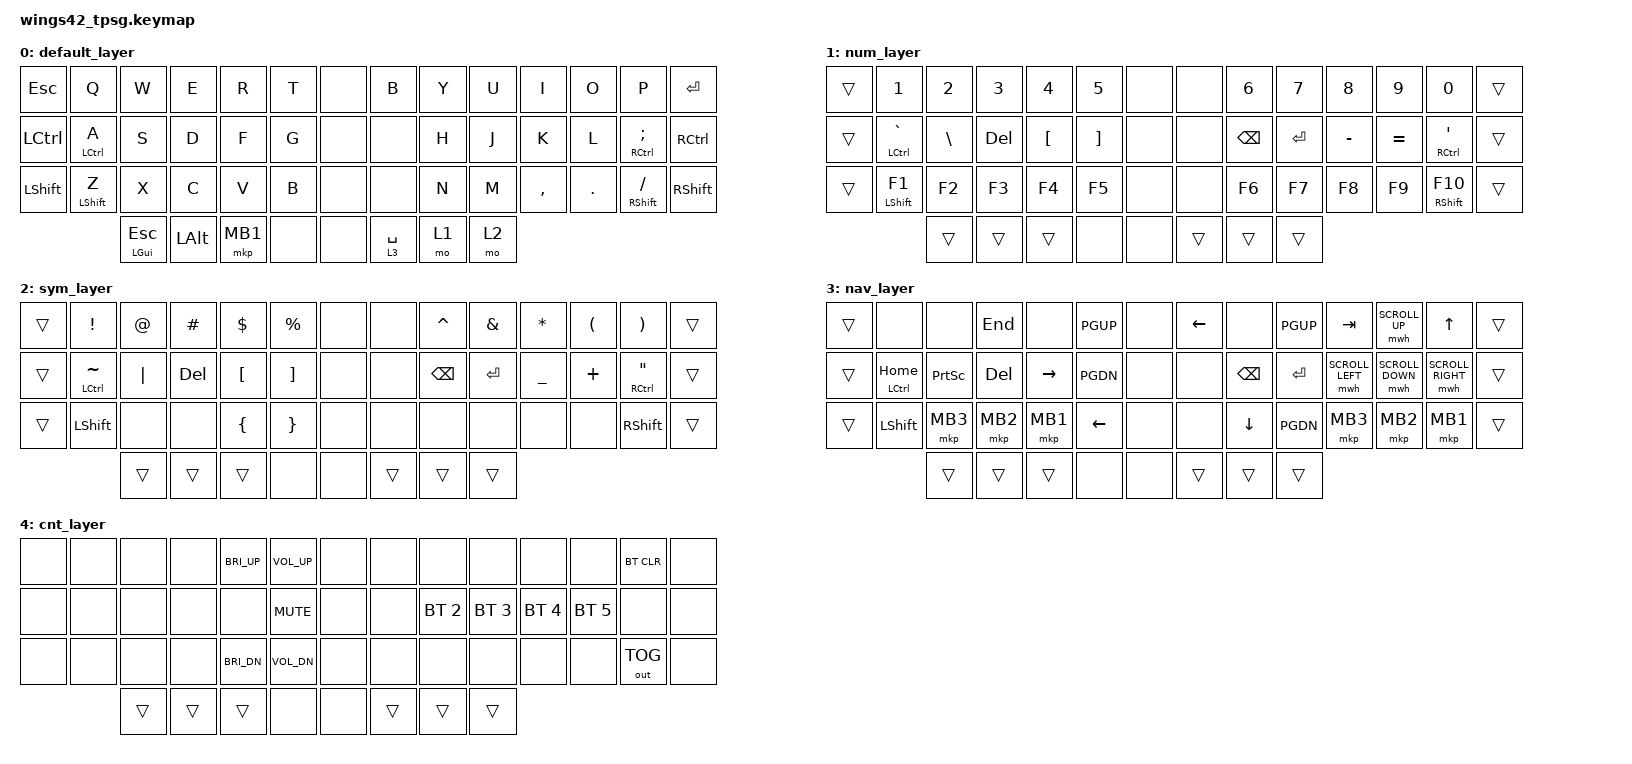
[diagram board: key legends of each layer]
/*
 * Copyright (c) 2022 The ZMK Contributors
 *
 * SPDX-License-Identifier: MIT
 */

#include <behaviors.dtsi>
#include <dt-bindings/zmk/keys.h>
#include <dt-bindings/zmk/bt.h>
#include <dt-bindings/zmk/mouse.h>
#include <dt-bindings/zmk/outputs.h>

/ {
	behaviors {
		hm: balanced_homerow_mods {
			compatible = "zmk,behavior-hold-tap";
			label = "HOMEROW_MODS";
			#binding-cells = <2>;
			tapping-term-ms = <1000>;    // <---[[moderate duration]]
			//quick-tap-ms = <125>;
			flavor = "balanced";
			bindings = <&kp>, <&kp>;
		};
	};
	combos {
		compatible = "zmk,combos";
	 	combo_l5 {
	 		timeout-ms = <100>;
	 		key-positions = <48 49>;
	 		bindings = <&mo 4>;
	 	};
	 	combo_rbtl {
	 		timeout-ms = <100>;
	 		key-positions = <47 48 49>;
	 		bindings = <&bootloader>;
	 	};
	};
	keymap {
		compatible = "zmk,keymap";
		default_layer { /* Default */	/* 0 */
//	---------------------------------------------------------------------------------------------------------	---------------------------------------------------------------------------------------------------------
//	|	TAB	|	Q	|	W	|	E	|	R	|	T	|	|	|	|	Y	|	U	|	I	|	O	|	P	|	ENTER	|
//	|	CTRL	|	A+CTRL	|	S	|	D	|	F	|	G	|	|	|	|	H	|	J	|	K	|	L	|	;	|	CTRL	|
//	|	SHIFT	|	Z+SHFT	|	X	|	C	|	V	|	B	|	|	|   B	|	N	|	M	|	,	|	.	|	/	|	SHIFT	|
//	------------------------------------------------|       GUI	|       ALT	|	MB1	|-------	--------| SPACE+navi	|	number	|	symbol	|------------------------------------------------
//							-------------------------------------------------			-------------------------------------------------
			bindings = <
	&kp ESC		&kp Q		&kp W		&kp E		&kp R	 	&kp T		&none		&kp B	&kp Y		&kp U		&kp I		&kp O		&kp P		&kp RET
	&kp LCTRL	&hm LCTRL A	&kp S		&kp D		&kp F		&kp G		&none		&none	&kp H		&kp J		&kp K		&kp L		&hm RCTRL SEMI	&kp RCTRL
	&kp LSHFT	&hm LSHFT Z	&kp X		&kp C		&kp V		&kp B		&none		&none	&kp N		&kp M		&kp COMMA	&kp DOT		&hm RSHFT FSLH	&kp RSHFT
							&mt LGUI ESC	&kp LALT	&mkp MB1	&none		&none	&lt 3 SPACE	&mo 1		&mo 2
		>;
		};
		num_layer { /* number */	/* L1 */
//	---------------------------------------------------------------------------------------------------------	---------------------------------------------------------------------------------------------------------
//	|	TAB	|	1!	|	2@	|	3#	|	4$	|	5%	|	|	|	|	6^	|	7&	|	8*	|	9(	|	0)	|	ENTER	|
//	|	CTRL	|	`~	|	\|	|	DEL	|	[{	|	]}	|	|	|	|	BACKSP	|	RETUN	|	-_	|	=+	|	'"	|	CTRL	|
//	|	SHIFT	|	F1	|	F2	|	F3	|	F4	|	F5	|	|	|	|	F6	|	F7	|	F8	|	F9	|	F10	|	SHIFT	|
//	------------------------------------------------|       GUI	|       ALT	|	MB1	|-------	--------| SPACE+navi	|	number	|	symbol	|------------------------------------------------
//							-------------------------------------------------			-------------------------------------------------
			bindings = <
	&trans		&kp N1		&kp N2		&kp N3		&kp N4		&kp N5		&none		&none	&kp N6		&kp N7		&kp N8		&kp N9		&kp N0		&trans
	&trans		&hm LCTRL GRAVE	&kp BSLH	&kp DEL		&kp LBKT	&kp RBKT	&none		&none	&kp BSPC	&kp RET		&kp MINUS	&kp EQUAL	&hm RCTRL SQT	&trans
	&trans		&hm LSHFT F1	&kp F2		&kp F3		&kp F4		&kp F5		&none		&none	&kp F6		&kp F7		&kp F8		&kp F9		&hm RSHFT F10	&trans
							&trans		&trans		&trans		&none		&none	&trans		&trans		&trans
		>;
		};
		sym_layer { /* Symbol */	/* L2 */
//	---------------------------------------------------------------------------------------------------------	---------------------------------------------------------------------------------------------------------
//	|	TAB	|	!	|	@	|	#	|	$	|	%	|	|	|	|	^	|	&	|	*	|	(	|	)	|	ENTER	|
//	|	CTRL	|	~+CTRL	|	|	|	DEL	|	[{	|	]}	|	|	|	|	BACKSP	|	RETUN	|	_	|	+	|	"+CTRL	|	CTRL	|
//	|	SHIFT	|	SHIFT	|		|		|	{	|	}	|	|	|	|		|		|		|		|	SHIFT	|	SHIFT	|
//	------------------------------------------------|       GUI	|       ALT	|	MB1	|-------	--------| SPACE+navi	|	number	|	symbol	|------------------------------------------------
//							-------------------------------------------------			-------------------------------------------------
			bindings = <
	&trans		&kp EXCL	&kp AT		&kp HASH	&kp DLLR	&kp PRCNT	&none		&none	&kp CARET	&kp AMPS	&kp STAR	&kp LPAR	&kp RPAR	&trans
	&trans		&hm LCTRL TILDE	&kp PIPE	&kp DEL		&kp LBKT	&kp RBKT	&none		&none	&kp BSPC	&kp RET		&kp UNDER	&kp PLUS	&hm RCTRL DQT	&trans
	&trans		&kp LSHFT	&none		&none		&kp LBRC	&kp RBRC	&none		&none	&none		&none		&none		&none		&kp RSHFT	&trans
							&trans		&trans		&trans		&none		&none	&trans		&trans		&trans
		>;
		};
		nav_layer { /* Navigation */	/* L3 */
//	---------------------------------------------------------------------------------------------------------	---------------------------------------------------------------------------------------------------------
//	|	TAB	|		|		|	END	|		|	PGUP	|	|	|	|		|	PGUP	|	TAB	| SCROLL_UP	|	UP	|	ENTER	|
//	|	CTRL	| HOME+CTRL	| PRINT_SCREEN	|	DEL	|	RIGHT	|	PGDN	|	|	|	|	BACKSP	|	RETUN	| SCROLL_LEFT	| SCROLL_DOWN	| SCROLL_RIGHT	|	CTRL	|
//	|	SHIFT	|		|	MB3	|	MB2	|	MB1	|	LEFT	|	|	| LEFT	|	DOWN	|	PGDN	|	MB3	|	MB2	|	MB1	|	SHIFT	|
//	------------------------------------------------|       GUI	|       ALT	|	MB1	|-------	--------| SPACE+navi	|	number	|	symbol	|------------------------------------------------
//							-------------------------------------------------			-------------------------------------------------
			bindings = <
	&trans		&none		&none		&kp END		&none		&kp PGUP	&none		&kp LEFT &none		&kp PGUP	&kp  TAB	 &mwh SCROLL_UP	  &kp  UP	    &trans
	&trans		&hm LCTRL HOME 	&kp PSCRN  	&kp DEL		&kp RIGHT	&kp PGDN	&none		&none	 &kp BSPC	&kp RET		&mwh SCROLL_LEFT &mwh SCROLL_DOWN &mwh SCROLL_RIGHT &trans
	&trans		&kp LSHFT	&mkp MB3	&mkp MB2	&mkp MB1	&kp LEFT	&none		&none	 &kp DOWN	&kp PGDN	&mkp MB3	 &mkp MB2	  &mkp MB1	    &trans
						 	&trans		&trans		&trans		&none		&none	 &trans		&trans		&trans
		>;
		};
		cnt_layer { /* Control */	/* L4 */
//	---------------------------------------------------------------------------------------------------------	---------------------------------------------------------------------------------------------------------
//	|		|		|		|		|   Brite Up	|  Volume Up	|	|	|	|		|		|		| 		| BLE clear	|		|
//	|		| 		| 		|		|		|  Mute		|	|	|	| BLE selelct 2	| BLE select 3	| BLE select 4	| BLE select 5	|		|		|
//	|		|		|		|		|   Brite Down	|  Volume Down	|	|	| 	|		|		|		| 		| togle USB/BLE	|		|
//	------------------------------------------------|       	|       	|		|-------	--------| 		|		|		|------------------------------------------------
//							-------------------------------------------------			-------------------------------------------------
			bindings = <
	&none		&none		&none		&none		&kp C_BRI_UP	&kp C_VOL_UP	&none		&none	&none		&none		&none		&none		&bt BT_CLR	&none
	&none		&none		&none		&none		&none		&kp C_MUTE	&none		&none	&bt BT_SEL 2	&bt BT_SEL 3	&bt BT_SEL 4	&bt BT_SEL 5	&none		&none	
	&none		&none		&none		&none		&kp C_BRI_DN	&kp C_VOL_DN	&none		&none	&none		&none		&none		&none		&out OUT_TOG	&none	
						 	&trans		&trans		&trans		&none		&none	&trans		&trans		&trans
		>;
		};
	};
};
 
